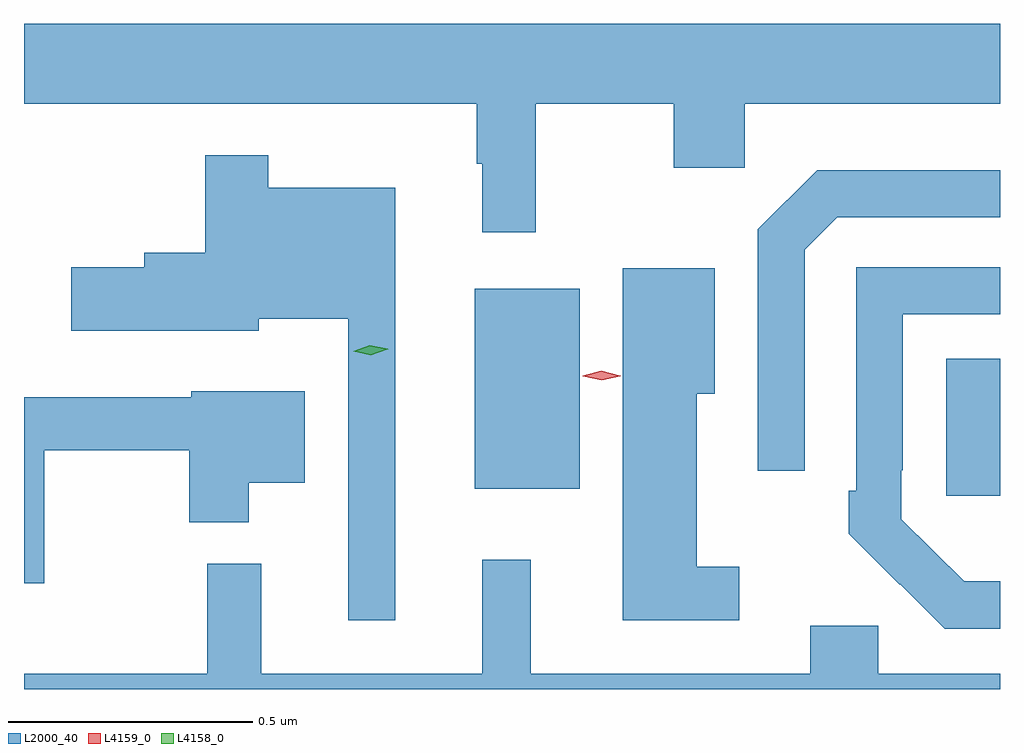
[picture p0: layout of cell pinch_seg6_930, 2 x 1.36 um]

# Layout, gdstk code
import gdstk
lib = gdstk.Library(unit=1e-6, precision=1e-09)
def R(c, l, rs):  # rectangles x0, y0, x1, y1
    for r in rs: c.add(gdstk.rectangle(r[:2], r[2:], *l))
def P(c, l, *ps):  # polygons
    for p in ps: c.add(gdstk.Polygon(p, *l))
L2000_40 = (2000, 40)
L4158_0 = (4158, 0)
L4159_0 = (4159, 0)

pinch_seg6_930 = lib.new_cell('pinch_seg6_930')
R(pinch_seg6_930, L2000_40, [(127.613,915.897,127.723,916.177), (126.647,915.911,126.862,916.321)])
P(pinch_seg6_930, L2000_40, [(126.772,916.7),(127.054,916.7),(127.054,916.569),(127.2,916.569),(127.2,916.7),(127.723,916.7),(127.723,916.864),(125.723,916.864),(125.723,916.7),(126.651,916.7),(126.651,916.577),(126.662,916.577),(126.662,916.437),(126.772,916.437)],
  [(126.484,916.528),(126.223,916.528),(126.223,916.594),(126.094,916.594),(126.094,916.395),(125.969,916.395),(125.969,916.365),(125.82,916.365),(125.82,916.235),(126.204,916.235),(126.204,916.259),(126.387,916.259),(126.387,915.642),(126.484,915.642)],
  [(127.323,916.401),(127.389,916.467),(127.723,916.467),(127.723,916.564),(127.348,916.564),(127.227,916.443),(127.227,915.948),(127.323,915.948)],
  [(127.723,915.721),(127.65,915.721),(127.521,915.849),(127.521,915.949),(127.524,915.949),(127.524,916.269),(127.723,916.269),(127.723,916.365),(127.428,916.365),(127.428,915.907),(127.413,915.907),(127.413,915.819),(127.518,915.714),(127.519,915.715),(127.61,915.624),(127.723,915.624)],
  [(127.189,915.751),(127.102,915.751),(127.102,916.106),(127.138,916.106),(127.138,916.363),(126.95,916.363),(126.95,915.642),(127.189,915.642)],
  [(125.764,915.99),(126.062,915.99),(126.062,915.842),(126.184,915.842),(126.184,915.923),(126.298,915.923),(126.298,916.111),(126.066,916.111),(126.066,916.099),(125.723,916.099),(125.723,915.717),(125.764,915.717)],
  [(127.723,915.532),(127.473,915.532),(127.473,915.63),(127.334,915.63),(127.334,915.532),(126.761,915.532),(126.761,915.766),(126.662,915.766),(126.662,915.532),(126.209,915.532),(126.209,915.757),(126.099,915.757),(126.099,915.532),(125.723,915.532),(125.723,915.5),(127.723,915.5)])
P(pinch_seg6_930, L4158_0, [(126.434,916.185),(126.398,916.193),(126.397,916.193),(126.398,916.193),(126.432,916.205),(126.468,916.198),(126.469,916.197),(126.468,916.197)])
P(pinch_seg6_930, L4159_0, [(126.907,916.133),(126.868,916.142),(126.868,916.142),(126.868,916.143),(126.906,916.153),(126.945,916.143),(126.946,916.143),(126.945,916.142)])

lib.write_gds('pinch_seg6_930.gds')
